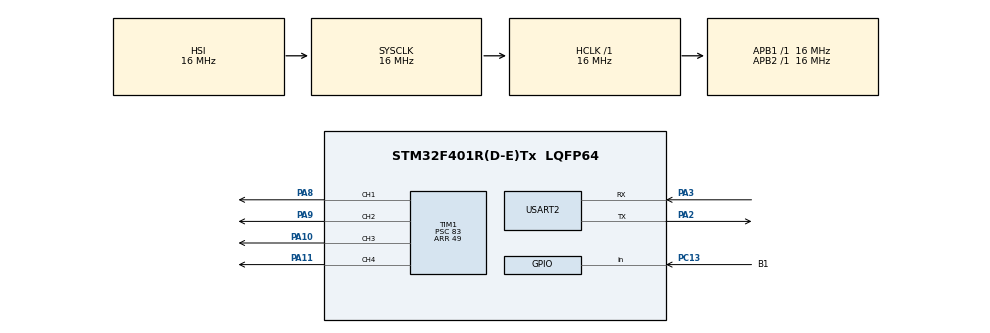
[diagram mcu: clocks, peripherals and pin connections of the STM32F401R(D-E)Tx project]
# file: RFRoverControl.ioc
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Mcu.Family=STM32F4
Mcu.Name=STM32F401R(D-E)Tx
Mcu.Package=LQFP64
NVIC.PriorityGroup=NVIC_PRIORITYGROUP_4
NVIC.USART2_IRQn=true\:0\:0\:false\:false\:true\:true\:true\:true
PA10.Signal=S_TIM1_CH3
PA11.Signal=S_TIM1_CH4
PA2.Mode=Asynchronous
PA2.Signal=USART2_TX
PA3.Mode=Asynchronous
PA3.Signal=USART2_RX
PA8.Signal=S_TIM1_CH1
PA9.Signal=S_TIM1_CH2
PC13-ANTI_TAMP.GPIO_Label=B1
PC13-ANTI_TAMP.Signal=GPIO_Input
ProjectManager.HeapSize=0x200
ProjectManager.StackSize=0x400
ProjectManager.TargetToolchain=STM32CubeIDE
RCC.AHBFreq_Value=16000000
RCC.APB1Freq_Value=16000000
RCC.APB2Freq_Value=16000000
RCC.CortexFreq_Value=16000000
RCC.HSE_VALUE=25000000
RCC.HSI_VALUE=16000000
RCC.LSE_VALUE=32768
RCC.SYSCLKFreq_VALUE=16000000
RCC.VCOOutputFreq_Value=192000000
SH.S_TIM1_CH1.0=TIM1_CH1,PWM Generation1 CH1
SH.S_TIM1_CH2.0=TIM1_CH2,PWM Generation2 CH2
SH.S_TIM1_CH3.0=TIM1_CH3,PWM Generation3 CH3
SH.S_TIM1_CH4.0=TIM1_CH4,PWM Generation4 CH4
TIM1.Channel-PWM\ Generation1\ CH1=TIM_CHANNEL_1
TIM1.Channel-PWM\ Generation2\ CH2=TIM_CHANNEL_2
TIM1.Channel-PWM\ Generation3\ CH3=TIM_CHANNEL_3
TIM1.Channel-PWM\ Generation4\ CH4=TIM_CHANNEL_4
TIM1.Period=49
TIM1.Prescaler=83
USART2.VirtualMode=VM_ASYNC
VP_TIM1_VS_ClockSourceINT.Mode=Internal
board=custom

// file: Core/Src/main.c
/* USER CODE BEGIN Header */
/**
  ******************************************************************************
  * @file           : main.c
  * @brief          : Main program body
  ******************************************************************************
  * @attention
  *
  * Copyright (c) 2026 STMicroelectronics.
  * All rights reserved.
  *
  * This software is licensed under terms that can be found in the LICENSE file
  * in the root directory of this software component.
  * If no LICENSE file comes with this software, it is provided AS-IS.
  *
  ******************************************************************************
  */
/* USER CODE END Header */
#include "main.h"

TIM_HandleTypeDef htim1;

UART_HandleTypeDef huart2;

/* USER CODE BEGIN PV */
uint8_t rx_byte;
uint32_t last_rx_time;
#define MOTOR_TIMEOUT_MS  300

/* USER CODE END PV */

void SystemClock_Config(void);
static void MX_GPIO_Init(void);
static void MX_TIM1_Init(void);
static void MX_USART2_UART_Init(void);

/* USER CODE BEGIN 0 */
void driveForward(){
	  __HAL_TIM_SET_COMPARE(&htim1, TIM_CHANNEL_2, 0);
	  __HAL_TIM_SET_COMPARE(&htim1, TIM_CHANNEL_4, 0);
	  __HAL_TIM_SET_COMPARE(&htim1, TIM_CHANNEL_1, 49);
	  __HAL_TIM_SET_COMPARE(&htim1, TIM_CHANNEL_3, 49);
}

void driveStop(){
	  __HAL_TIM_SET_COMPARE(&htim1, TIM_CHANNEL_2, 0);
	  __HAL_TIM_SET_COMPARE(&htim1, TIM_CHANNEL_4, 0);
	  __HAL_TIM_SET_COMPARE(&htim1, TIM_CHANNEL_1, 0);
	  __HAL_TIM_SET_COMPARE(&htim1, TIM_CHANNEL_3, 0);
}

/* USER CODE END 0 */

int main(void)
{

  /* MCU Configuration--------------------------------------------------------*/

  /* Reset of all peripherals, Initializes the Flash interface and the Systick. */
  HAL_Init();

  /* Configure the system clock */
  SystemClock_Config();

  /* Initialize all configured peripherals */
  MX_GPIO_Init();
  MX_TIM1_Init();
  MX_USART2_UART_Init();
  /* USER CODE BEGIN 2 */
  HAL_TIM_PWM_Start(&htim1, TIM_CHANNEL_1);
  HAL_TIM_PWM_Start(&htim1, TIM_CHANNEL_2);
  HAL_TIM_PWM_Start(&htim1, TIM_CHANNEL_3);
  HAL_TIM_PWM_Start(&htim1, TIM_CHANNEL_4);

  const char diagMsg[] = "Diagnostic Run Started\r\n";
  const char mostorStopMsg[] = "motor stop\r\n";

  last_rx_time = HAL_GetTick();
  HAL_UART_Receive_IT(&huart2, &rx_byte, 1);
  /* USER CODE END 2 */

  /* Infinite loop */
  /* USER CODE BEGIN WHILE */
  while (1)
  {
	  if (HAL_GetTick() - last_rx_time > MOTOR_TIMEOUT_MS) {
		  driveStop();
		  HAL_UART_Transmit(&huart2, (uint8_t *)mostorStopMsg, sizeof(mostorStopMsg) - 1, 100);
	  }
	  HAL_Delay(10);
	  if (HAL_GPIO_ReadPin(B1_GPIO_Port, B1_Pin) == GPIO_PIN_RESET)
	  {

		  HAL_UART_Transmit(&huart2, (uint8_t *)diagMsg, sizeof(diagMsg) - 1, 100);
		  /* Ramp up forward (CH2) */
		  __HAL_TIM_SET_COMPARE(&htim1, TIM_CHANNEL_1, 0);
		  __HAL_TIM_SET_COMPARE(&htim1, TIM_CHANNEL_3, 0);
		  for (uint32_t i = 0; i <= 49; i++) {
			  __HAL_TIM_SET_COMPARE(&htim1, TIM_CHANNEL_2, i);
			  HAL_Delay(10);
			  __HAL_TIM_SET_COMPARE(&htim1, TIM_CHANNEL_4, i);
			  HAL_Delay(10);
		  }

		  /* Forward full speed for 1 second */
		  HAL_Delay(1000);

		  /* Ramp down forward (CH2) */
		  for (int32_t i = 49; i >= 0; i--) {
			  __HAL_TIM_SET_COMPARE(&htim1, TIM_CHANNEL_2, i);
			  HAL_Delay(10);
			  __HAL_TIM_SET_COMPARE(&htim1, TIM_CHANNEL_4, i);
			  HAL_Delay(10);
		  }

		  /* Ramp up backward (CH1) */
		  __HAL_TIM_SET_COMPARE(&htim1, TIM_CHANNEL_2, 0);
		  __HAL_TIM_SET_COMPARE(&htim1, TIM_CHANNEL_4, 0);
		  for (uint32_t i = 0; i <= 49; i++) {
			  __HAL_TIM_SET_COMPARE(&htim1, TIM_CHANNEL_1, i);
			  HAL_Delay(10);
			  __HAL_TIM_SET_COMPARE(&htim1, TIM_CHANNEL_3, i);
			  HAL_Delay(10);
		  }

		  /* Backward full speed for 1 second */
		  HAL_Delay(1000);

		  /* Ramp down backward (CH1) */
		  for (int32_t i = 49; i >= 0; i--) {
			  __HAL_TIM_SET_COMPARE(&htim1, TIM_CHANNEL_1, i);
			  HAL_Delay(10);
			  __HAL_TIM_SET_COMPARE(&htim1, TIM_CHANNEL_3, i);
			  HAL_Delay(10);
		  }
	  }

    /* USER CODE END WHILE */

  }
}

void SystemClock_Config(void)
{
  RCC_OscInitTypeDef RCC_OscInitStruct = {0};
  RCC_ClkInitTypeDef RCC_ClkInitStruct = {0};

  /** Configure the main internal regulator output voltage
  */
  __HAL_RCC_PWR_CLK_ENABLE();
  __HAL_PWR_VOLTAGESCALING_CONFIG(PWR_REGULATOR_VOLTAGE_SCALE2);

  /** Initializes the RCC Oscillators according to the specified parameters
  * in the RCC_OscInitTypeDef structure.
  */
  RCC_OscInitStruct.OscillatorType = RCC_OSCILLATORTYPE_HSI;
  RCC_OscInitStruct.HSIState = RCC_HSI_ON;
  RCC_OscInitStruct.HSICalibrationValue = RCC_HSICALIBRATION_DEFAULT;
  RCC_OscInitStruct.PLL.PLLState = RCC_PLL_NONE;
  if (HAL_RCC_OscConfig(&RCC_OscInitStruct) != HAL_OK)
  {
    Error_Handler();
  }

  /** Initializes the CPU, AHB and APB buses clocks
  */
  RCC_ClkInitStruct.ClockType = RCC_CLOCKTYPE_HCLK|RCC_CLOCKTYPE_SYSCLK
                              |RCC_CLOCKTYPE_PCLK1|RCC_CLOCKTYPE_PCLK2;
  RCC_ClkInitStruct.SYSCLKSource = RCC_SYSCLKSOURCE_HSI;
  RCC_ClkInitStruct.AHBCLKDivider = RCC_SYSCLK_DIV1;
  RCC_ClkInitStruct.APB1CLKDivider = RCC_HCLK_DIV1;
  RCC_ClkInitStruct.APB2CLKDivider = RCC_HCLK_DIV1;

  if (HAL_RCC_ClockConfig(&RCC_ClkInitStruct, FLASH_LATENCY_0) != HAL_OK)
  {
    Error_Handler();
  }
}

static void MX_TIM1_Init(void)
{

  TIM_ClockConfigTypeDef sClockSourceConfig = {0};
  TIM_MasterConfigTypeDef sMasterConfig = {0};
  TIM_OC_InitTypeDef sConfigOC = {0};
  TIM_BreakDeadTimeConfigTypeDef sBreakDeadTimeConfig = {0};

  htim1.Instance = TIM1;
  htim1.Init.Prescaler = 83;
  htim1.Init.CounterMode = TIM_COUNTERMODE_UP;
  htim1.Init.Period = 49;
  htim1.Init.ClockDivision = TIM_CLOCKDIVISION_DIV1;
  htim1.Init.RepetitionCounter = 0;
  htim1.Init.AutoReloadPreload = TIM_AUTORELOAD_PRELOAD_DISABLE;
  if (HAL_TIM_Base_Init(&htim1) != HAL_OK)
  {
    Error_Handler();
  }
  sClockSourceConfig.ClockSource = TIM_CLOCKSOURCE_INTERNAL;
  if (HAL_TIM_ConfigClockSource(&htim1, &sClockSourceConfig) != HAL_OK)
  {
    Error_Handler();
  }
  if (HAL_TIM_PWM_Init(&htim1) != HAL_OK)
  {
    Error_Handler();
  }
  sMasterConfig.MasterOutputTrigger = TIM_TRGO_RESET;
  sMasterConfig.MasterSlaveMode = TIM_MASTERSLAVEMODE_DISABLE;
  if (HAL_TIMEx_MasterConfigSynchronization(&htim1, &sMasterConfig) != HAL_OK)
  {
    Error_Handler();
  }
  sConfigOC.OCMode = TIM_OCMODE_PWM1;
  sConfigOC.Pulse = 0;
  sConfigOC.OCPolarity = TIM_OCPOLARITY_HIGH;
  sConfigOC.OCNPolarity = TIM_OCNPOLARITY_HIGH;
  sConfigOC.OCFastMode = TIM_OCFAST_DISABLE;
  sConfigOC.OCIdleState = TIM_OCIDLESTATE_RESET;
  sConfigOC.OCNIdleState = TIM_OCNIDLESTATE_RESET;
  if (HAL_TIM_PWM_ConfigChannel(&htim1, &sConfigOC, TIM_CHANNEL_1) != HAL_OK)
  {
    Error_Handler();
  }
  if (HAL_TIM_PWM_ConfigChannel(&htim1, &sConfigOC, TIM_CHANNEL_2) != HAL_OK)
  {
    Error_Handler();
  }
  if (HAL_TIM_PWM_ConfigChannel(&htim1, &sConfigOC, TIM_CHANNEL_3) != HAL_OK)
  {
    Error_Handler();
  }
  if (HAL_TIM_PWM_ConfigChannel(&htim1, &sConfigOC, TIM_CHANNEL_4) != HAL_OK)
  {
    Error_Handler();
  }
  sBreakDeadTimeConfig.OffStateRunMode = TIM_OSSR_DISABLE;
  sBreakDeadTimeConfig.OffStateIDLEMode = TIM_OSSI_DISABLE;
  sBreakDeadTimeConfig.LockLevel = TIM_LOCKLEVEL_OFF;
  sBreakDeadTimeConfig.DeadTime = 0;
  sBreakDeadTimeConfig.BreakState = TIM_BREAK_DISABLE;
  sBreakDeadTimeConfig.BreakPolarity = TIM_BREAKPOLARITY_HIGH;
  sBreakDeadTimeConfig.AutomaticOutput = TIM_AUTOMATICOUTPUT_DISABLE;
  if (HAL_TIMEx_ConfigBreakDeadTime(&htim1, &sBreakDeadTimeConfig) != HAL_OK)
  {
    Error_Handler();
  }
  HAL_TIM_MspPostInit(&htim1);

}

static void MX_USART2_UART_Init(void)
{

  huart2.Instance = USART2;
  huart2.Init.BaudRate = 115200;
  huart2.Init.WordLength = UART_WORDLENGTH_8B;
  huart2.Init.StopBits = UART_STOPBITS_1;
  huart2.Init.Parity = UART_PARITY_NONE;
  huart2.Init.Mode = UART_MODE_TX_RX;
  huart2.Init.HwFlowCtl = UART_HWCONTROL_NONE;
  huart2.Init.OverSampling = UART_OVERSAMPLING_16;
  if (HAL_UART_Init(&huart2) != HAL_OK)
  {
    Error_Handler();
  }

}

static void MX_GPIO_Init(void)
{
  GPIO_InitTypeDef GPIO_InitStruct = {0};

  /* GPIO Ports Clock Enable */
  __HAL_RCC_GPIOC_CLK_ENABLE();
  __HAL_RCC_GPIOA_CLK_ENABLE();

  /*Configure GPIO pin : B1_Pin */
  GPIO_InitStruct.Pin = B1_Pin;
  GPIO_InitStruct.Mode = GPIO_MODE_INPUT;
  GPIO_InitStruct.Pull = GPIO_NOPULL;
  HAL_GPIO_Init(B1_GPIO_Port, &GPIO_InitStruct);

}

/* USER CODE BEGIN 4 */

void HAL_UART_RxCpltCallback(UART_HandleTypeDef *huart)
{
    if (huart->Instance == USART2)
    {

    	last_rx_time = HAL_GetTick();

		if (rx_byte == 'w' || rx_byte == 'W')
		{
			driveForward();
		}

        // Re-arm the interrupt for the next reception
        HAL_UART_Receive_IT(&huart2, &rx_byte, 1);
    }
}

/* USER CODE END 4 */

void Error_Handler(void)
{
  __disable_irq();
  while (1)
  {
  }
}
